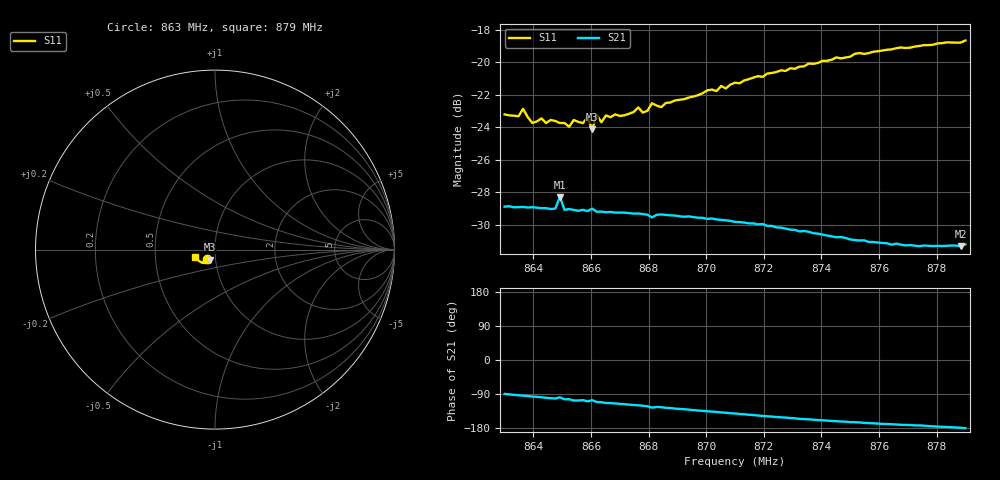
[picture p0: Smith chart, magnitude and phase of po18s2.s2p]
# HZ S RI R 50
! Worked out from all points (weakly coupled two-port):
!   101 points, 863 MHz to 879 MHz, reference 50 ohm
!   highest |S21| = -28.28 dB at 864.92 MHz (marker M1); lowest = -31.3 dB at 878.84 MHz (marker M2)
!   lowest |S11| = -24.1 dB at 866.04 MHz (marker M3), VSWR 1.13, Z = 47 - j5.21 ohm
!   |S11| at or under -10 dB: start of sweep to end of sweep
!   S12 and S22 are empty: the file has one direction only
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8.63e8  -0.0445 -0.0528  0.000292 -0.036  0 0  0 0
8.6348e8  -0.0429 -0.0529  -0.00194 -0.0358  0 0  0 0
8.6364e8  -0.0491 -0.0524  -0.00248 -0.0358  0 0  0 0
8.6396e8  -0.0396 -0.0516  -0.00404 -0.0356  0 0  0 0
8.6476e8  -0.0394 -0.0529  -0.00719 -0.0347  0 0  0 0
8.6492e8  -0.0281 -0.0586  -0.00562 -0.0381  0 0  0 0
8.6508e8  -0.0368 -0.0536  -0.0084 -0.0341  0 0  0 0
8.6572e8  -0.0325 -0.0562  -0.00962 -0.0338  0 0  0 0
8.6588e8  -0.037 -0.0566  -0.0115 -0.0329  0 0  0 0
8.6604e8  -0.0284 -0.0552  -0.00984 -0.0341  0 0  0 0
8.662e8  -0.0375 -0.0578  -0.0123 -0.0324  0 0  0 0
8.6636e8  -0.0328 -0.0565  -0.0127 -0.0323  0 0  0 0
8.6652e8  -0.0377 -0.0573  -0.0137 -0.0317  0 0  0 0
8.6764e8  -0.0363 -0.0628  -0.0169 -0.0298  0 0  0 0
8.678e8  -0.0343 -0.0609  -0.0175 -0.0293  0 0  0 0
8.6812e8  -0.0424 -0.0616  -0.0194 -0.0271  0 0  0 0
8.6844e8  -0.0357 -0.0633  -0.0193 -0.028  0 0  0 0
8.71e8  -0.0472 -0.0724  -0.0252 -0.0202  0 0  0 0
8.7372e8  -0.0653 -0.0741  -0.0275 -0.0114  0 0  0 0
8.7644e8  -0.0899 -0.0623  -0.027 -0.00501  0 0  0 0
8.7884e8  -0.1069 -0.0419  -0.0272 -0.000529  0 0  0 0
8.79e8  -0.109 -0.0412  -0.0275 -7e-06  0 0  0 0
